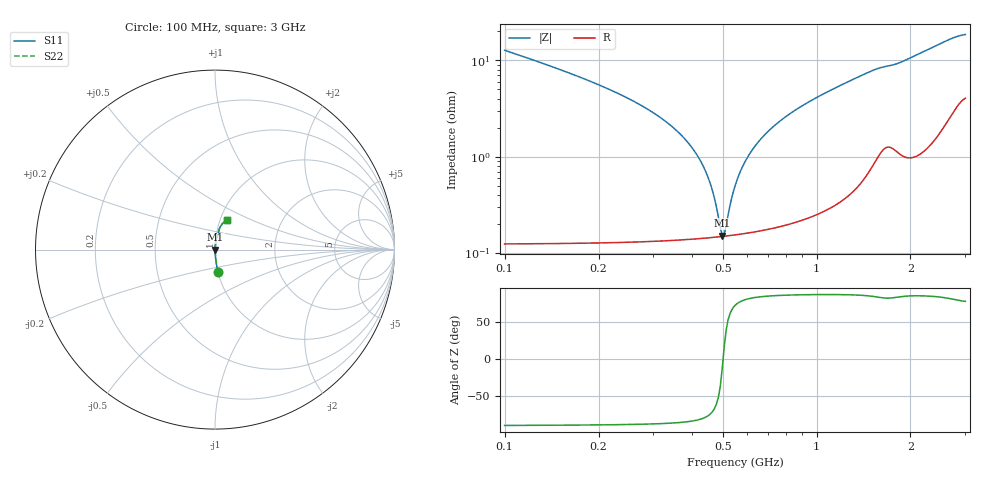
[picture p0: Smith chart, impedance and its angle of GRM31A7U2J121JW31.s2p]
!Murata Part Number: GRM31A7U2J121JW31
!These Parameters are Measured in Series Mode Connection
!Data Generated on Mar 30, 2021
!  o--ll--o
!Port1  Port2
!  o------o
!Operation Temp=25[degC], DC Bias Voltage=0[V]
!Freq. Start=100[MHz] Stop=3[GHz] 401[Steps]
# Hz S RI R 50
!Freq.(Hz) S11(Real) S11(Imag) S21(Real) S21(Imag) S12(Real) S12(Imag) S22(Real) S22(Imag)
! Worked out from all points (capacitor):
!   401 points, 100 MHz to 3 GHz, reference 50 ohm
!   read as one part in series: C = 120 pF near 114.5 MHz
!   lowest |Z| = 151 mohm at 498.8 MHz (marker M1)
!   series resonance near 501.7 MHz, so ESL is about 840 pH
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1e8  0.0172 -0.1251  0.9828 0.1251  0.9828 0.1251  0.0172 -0.1251
1.7975e8  0.00537 -0.064  0.9946 0.064  0.9946 0.064  0.00537 -0.064
3.2475e8  0.0019 -0.0237  0.9981 0.0237  0.9981 0.0237  0.0019 -0.0237
3.9e8  0.00156 -0.0135  0.9984 0.0135  0.9984 0.0135  0.00156 -0.0135
4.19e8  0.0015 -0.00961  0.9985 0.00961  0.9985 0.00961  0.0015 -0.00961
4.48e8  0.00147 -0.00602  0.9985 0.00602  0.9985 0.00602  0.00147 -0.00602
4.625e8  0.00146 -0.00432  0.9985 0.00432  0.9985 0.00432  0.00146 -0.00432
4.915e8  0.00147 -0.00109  0.9985 0.00109  0.9985 0.00109  0.00147 -0.00109
4.9875e8  0.00148 -0.00031  0.9985 0.00031  0.9985 0.00031  0.00148 -0.00031
5.06e8  0.00149 0.000458  0.9985 -0.000458  0.9985 -0.000458  0.00149 0.000458
5.1325e8  0.0015 0.00122  0.9985 -0.00122  0.9985 -0.00122  0.0015 0.00122
5.35e8  0.00153 0.00343  0.9985 -0.00343  0.9985 -0.00343  0.00153 0.00343
5.495e8  0.00156 0.00486  0.9984 -0.00486  0.9984 -0.00486  0.00156 0.00486
5.8575e8  0.00165 0.0083  0.9983 -0.0083  0.9983 -0.0083  0.00165 0.0083
6.51e8  0.00188 0.0141  0.9981 -0.0141  0.9981 -0.0141  0.00188 0.0141
7.525e8  0.00235 0.0224  0.9976 -0.0224  0.9976 -0.0224  0.00235 0.0224
8.9025e8  0.00324 0.0328  0.9968 -0.0328  0.9968 -0.0328  0.00324 0.0328
1.0715e9  0.00486 0.0458  0.9951 -0.0458  0.9951 -0.0458  0.00486 0.0458
1.55e9  0.0153 0.0785  0.9847 -0.0785  0.9847 -0.0785  0.0153 0.0785
2.03575e9  0.0211 0.1055  0.9789 -0.1055  0.9789 -0.1055  0.0211 0.1055
2.5215e9  0.0396 0.1424  0.9604 -0.1424  0.9604 -0.1424  0.0396 0.1424
3e9  0.0672 0.1626  0.9328 -0.1626  0.9328 -0.1626  0.0672 0.1626
